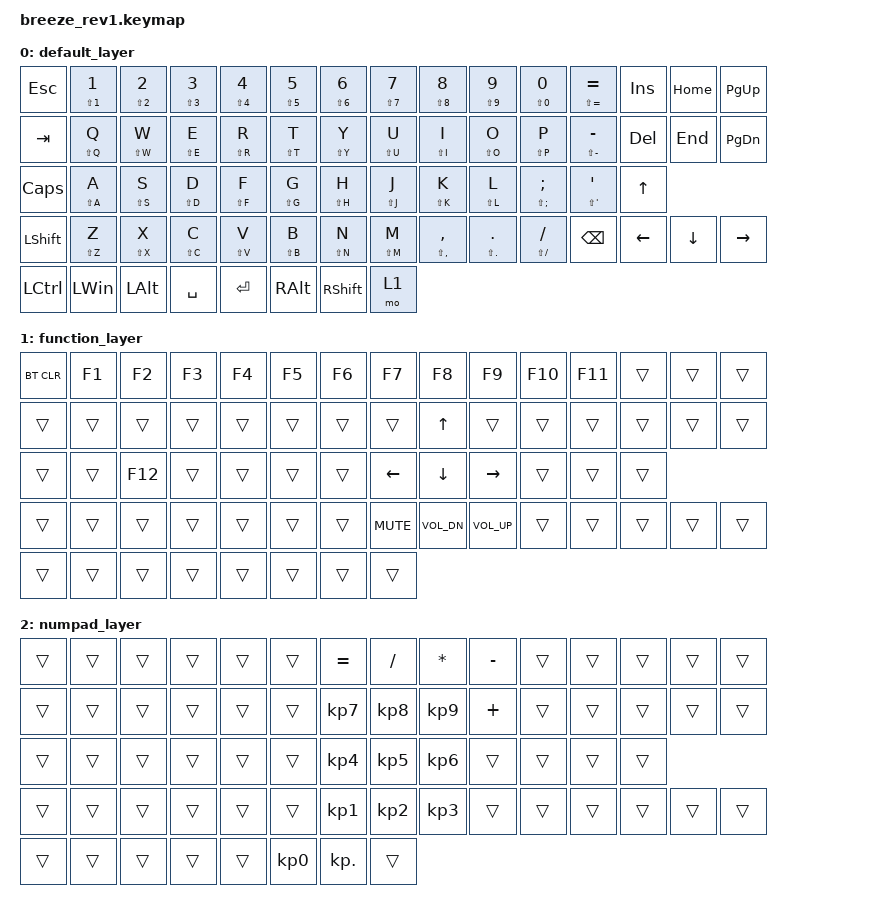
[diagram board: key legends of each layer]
/*
 * Copyright (c) 2022 The ZMK Contributors
 *
 * SPDX-License-Identifier: MIT
 */

#include <behaviors.dtsi>
#include <dt-bindings/zmk/bt.h>
#include <dt-bindings/zmk/keys.h>

/ {
    behaviors {
        hold_tap: hold_tap {
            compatible = "zmk,behavior-hold-tap";
            label = "HOLD_TAP";
            bindings = <&kp>, <&kp>;

            #binding-cells = <2>;
            tapping-term-ms = <220>;
            flavor = "balanced";
        };
    };

    keymap {
        compatible = "zmk,keymap";

        default_layer {
            // Ref: https://zmkfirmware.dev/docs/codes/
            // ---  MAIN  -----------------------------------------------------------------------------------------------------------------------
            // |    ESC    |     1     |     2     |     3      |      4      |      5     |                           |      6      |      7     |      8      |      9     |     0    |    BSPC    | |    -/_    |     =/+     |    GRAVE    |
            // |    TAB    |     Q     |     W     |     E      |      R      |      T     |                           |      Y      |      U     |      I      |      O     |     P    |    DEL     | |     \     |      [      |      ]      |
            // |   LCTRL   |     A     |     S     |     D      |      F      |      G     |                           |      H      |      J     |      K      |      L     |     ;    |     '      | |           |      UP     |             |
            // |   SHIFT   |     Z     |     X     |     C      |      V      |      B     |                           |      N      |      M     |      ,      |      .     |     /    |   RSHIFT   | |     L     |      DN     |      R      |
            //                                     |   NUMPAD   |     LALT    |    LCMD    |   SPACE    |  |   ENTER   |   FUNCTION  |  MACOS APP |  MACOS LANG |

            bindings = <
&kp ESC    &hold_tap LS(N1) N1  &hold_tap LS(N2) N2  &hold_tap LS(N3) N3  &hold_tap LS(N4) N4  &hold_tap LS(N5) N5  &hold_tap LS(N6) N6  &hold_tap LS(N7) N7  &hold_tap LS(N8) N8        &hold_tap LS(N9) N9    &hold_tap LS(N0) N0           &hold_tap LS(EQUAL) EQUAL  &kp INSERT  &kp HOME  &kp PAGE_UP
&kp TAB    &hold_tap LS(Q) Q    &hold_tap LS(W) W    &hold_tap LS(E) E    &hold_tap LS(R) R    &hold_tap LS(T) T    &hold_tap LS(Y) Y    &hold_tap LS(U) U    &hold_tap LS(I) I          &hold_tap LS(O) O      &hold_tap LS(P) P             &hold_tap LS(MINUS) MINUS  &kp DELETE  &kp END   &kp PAGE_DOWN
&kp CLCK   &hold_tap LS(A) A    &hold_tap LS(S) S    &hold_tap LS(D) D    &hold_tap LS(F) F    &hold_tap LS(G) G    &hold_tap LS(H) H    &hold_tap LS(J) J    &hold_tap LS(K) K          &hold_tap LS(L) L      &hold_tap LS(SEMI) SEMICOLON  &hold_tap LS(SQT) SQT      &kp UP
&kp LSHFT  &hold_tap LS(Z) Z    &hold_tap LS(X) X    &hold_tap LS(C) C    &hold_tap LS(V) V    &hold_tap LS(B) B    &hold_tap LS(N) N    &hold_tap LS(M) M    &hold_tap LS(COMMA) COMMA  &hold_tap LS(DOT) DOT  &hold_tap LS(FSLH) FSLH       &kp BACKSPACE              &kp LEFT    &kp DOWN  &kp RIGHT
&kp LCTRL  &kp LEFT_WIN         &kp LEFT_ALT         &kp SPACE            &kp RET              &kp RIGHT_ALT        &kp RIGHT_SHIFT      &mo 1
            >;
        };

        function_layer {
            // ---  FUNCTION  -------------------------------------------------------------------------------------------------------------------
            // | BT Clear  |  BT Prev  |  BT Next  |            |             |            |                           |             |            |             |            |          |            | |           |             |             |
            // |           |           |           |            |             |            |                           |             |            |     UP      |            |          |            | |           |             |             |
            // |           |           |           |            |             |            |                           |             |    LEFT    |    DOWN     |   RIGHT    |          |            | |           |             |             |
            // |           |           |           |            |             |            |                           |             |    MUTE    |  VOL DOWN   |   VOL UP   |          |            | |           |             |             |
            //                                     |            |             |            |            |  |           |             |            |             |

            bindings = <
&bt BT_CLR  &kp F1  &kp F2   &kp F3  &kp F4  &kp F5  &kp F6  &kp F7      &kp F8        &kp F9        &kp F10  &kp F11  &trans  &trans  &trans
&trans      &trans  &trans   &trans  &trans  &trans  &trans  &trans      &kp UP        &trans        &trans   &trans   &trans  &trans  &trans
&trans      &trans  &kp F12  &trans  &trans  &trans  &trans  &kp LEFT    &kp DOWN      &kp RIGHT     &trans   &trans   &trans
&trans      &trans  &trans   &trans  &trans  &trans  &trans  &kp C_MUTE  &kp C_VOL_DN  &kp C_VOL_UP  &trans   &trans   &trans  &trans  &trans
&trans      &trans  &trans   &trans  &trans  &trans  &trans  &trans
            >;
        };

        numpad_layer {
            // ---  NUMPAD  -------------------------------------------------------------------------------------------------------------------
            // |           |           |           |            |             |            |                           |       =       |      /       |      *       |      -     |          |            | |           |             |             |
            // |           |           |           |            |             |            |                           |       7       |      8       |      9       |      +     |          |            | |           |             |             |
            // |           |           |           |            |             |            |                           |       4       |      5       |      6       |            |          |            | |           |             |             |
            // |           |           |           |            |             |            |                           |       1       |      2       |      3       |            |          |            | |           |             |             |
            //                                     |            |             |            |            |  |           |       0       |      .       |              |

            bindings = <
&trans  &trans  &trans  &trans  &trans  &trans           &kp EQUAL        &kp SLASH        &kp STAR         &kp MINUS  &trans  &trans  &trans  &trans  &trans
&trans  &trans  &trans  &trans  &trans  &trans           &kp KP_NUMBER_7  &kp KP_NUMBER_8  &kp KP_NUMBER_9  &kp PLUS   &trans  &trans  &trans  &trans  &trans
&trans  &trans  &trans  &trans  &trans  &trans           &kp KP_NUMBER_4  &kp KP_NUMBER_5  &kp KP_NUMBER_6  &trans     &trans  &trans  &trans
&trans  &trans  &trans  &trans  &trans  &trans           &kp KP_NUMBER_1  &kp KP_NUMBER_2  &kp KP_NUMBER_3  &trans     &trans  &trans  &trans  &trans  &trans
&trans  &trans  &trans  &trans  &trans  &kp KP_NUMBER_0  &kp KP_DOT       &trans
            >;
        };
    };
};
